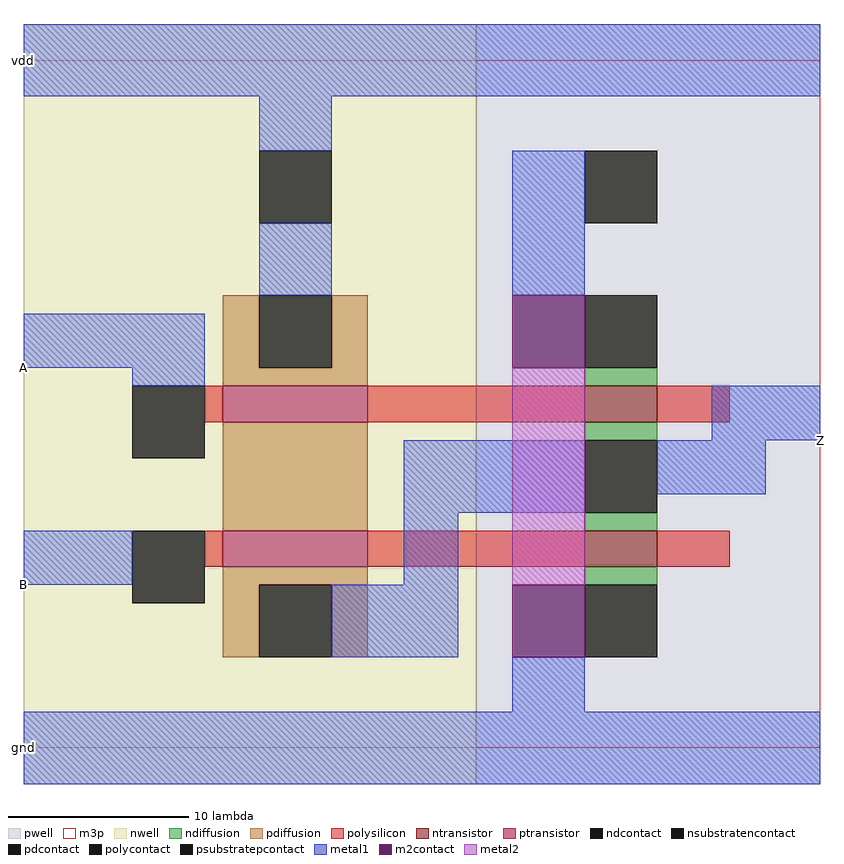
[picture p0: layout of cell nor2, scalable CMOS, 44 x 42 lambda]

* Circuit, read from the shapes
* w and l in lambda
.subckt nor2 A B Z gnd vdd
M1 Z B gnd gnd nfet w=4 l=2
M2 gnd A Z gnd nfet w=4 l=2
M3 n1 B Z vdd pfet w=8 l=2
M4 vdd A n1 vdd pfet w=8 l=2
.ends

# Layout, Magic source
magic
tech scmos
<< nwell >>
rect 0 -2 25 40
<< pwell >>
rect 25 -2 44 40
<< ntransistor >>
rect 31 18 35 20
rect 31 10 35 12
<< ptransistor >>
rect 11 18 19 20
rect 11 10 19 12
<< ndiffusion >>
rect 31 20 35 21
rect 31 17 35 18
rect 31 12 35 13
rect 31 9 35 10
<< pdiffusion >>
rect 11 21 13 25
rect 17 21 19 25
rect 11 20 19 21
rect 11 12 19 18
rect 11 9 19 10
rect 11 5 13 9
rect 17 5 19 9
<< ndcontact >>
rect 31 21 35 25
rect 31 13 35 17
rect 31 5 35 9
<< pdcontact >>
rect 13 21 17 25
rect 13 5 17 9
<< psubstratepcontact >>
rect 31 29 35 33
<< nsubstratencontact >>
rect 13 29 17 33
<< polysilicon >>
rect 10 18 11 20
rect 19 18 31 20
rect 35 18 39 20
rect 10 10 11 12
rect 19 10 31 12
rect 35 10 39 12
<< polycontact >>
rect 6 16 10 20
rect 6 8 10 12
<< metal1 >>
rect 0 36 44 40
rect 13 33 17 36
rect 13 25 17 29
rect 0 21 10 24
rect 27 25 31 33
rect 6 20 10 21
rect 38 17 44 20
rect 21 13 31 17
rect 35 14 41 17
rect 0 9 6 12
rect 21 9 24 13
rect 17 5 24 9
rect 27 2 31 5
rect 0 -2 44 2
<< m2contact >>
rect 27 21 31 25
rect 27 5 31 9
<< metal2 >>
rect 27 9 31 21
<< m3p >>
rect 0 0 44 38
<< labels >>
rlabel metal1 44 17 44 17 7 Z
rlabel metal1 0 9 0 9 3 B
rlabel metal1 0 21 0 21 1 A
rlabel metal1 0 38 0 38 1 vdd
rlabel metal1 0 0 0 0 1 gnd
<< end >>
